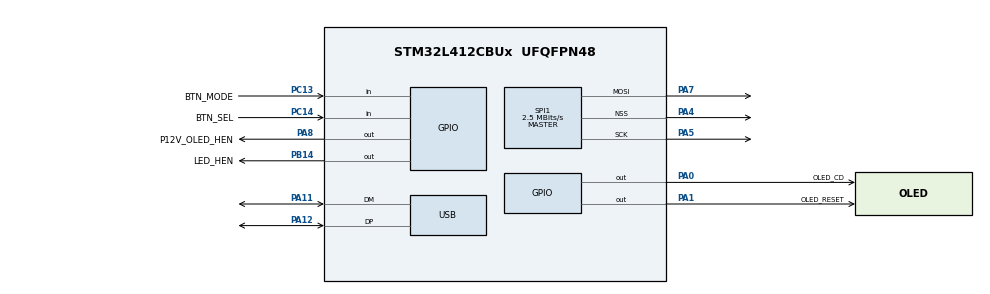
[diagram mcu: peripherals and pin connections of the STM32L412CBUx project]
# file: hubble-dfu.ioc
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CRC.DefaultInitValueUse=DEFAULT_INIT_VALUE_ENABLE
Mcu.Family=STM32L4
Mcu.Name=STM32L412CBUx
Mcu.Package=UFQFPN48
NVIC.PriorityGroup=NVIC_PRIORITYGROUP_4
NVIC.USB_IRQn=true\:0\:0\:false\:false\:true\:false\:true
PA0.GPIO_Label=OLED_CD
PA0.Signal=GPIO_Output
PA1.GPIO_Label=OLED_RESET
PA1.Signal=GPIO_Output
PA11.Mode=Device
PA11.Signal=USB_DM
PA12.Mode=Device
PA12.Signal=USB_DP
PA13\ (JTMS/SWDIO).Mode=Serial_Wire
PA13\ (JTMS/SWDIO).Signal=SYS_JTMS-SWDIO
PA14\ (JTCK/SWCLK).Mode=Serial_Wire
PA14\ (JTCK/SWCLK).Signal=SYS_JTCK-SWCLK
PA4.Mode=NSS_Signal_Hard_Output
PA4.Signal=SPI1_NSS
PA5.Mode=TX_Only_Simplex_Unidirect_Master
PA5.Signal=SPI1_SCK
PA7.Mode=TX_Only_Simplex_Unidirect_Master
PA7.Signal=SPI1_MOSI
PA8.GPIO_Label=P12V_OLED_HEN
PA8.Signal=GPIO_Output
PB14.GPIO_Label=LED_HEN
PB14.Signal=GPIO_Output
PC13.GPIO_Label=BTN_MODE
PC13.GPIO_PuPd=GPIO_PULLUP
PC13.Signal=GPIO_Input
PC14-OSC32_IN\ (PC14).GPIO_Label=BTN_SEL
PC14-OSC32_IN\ (PC14).GPIO_PuPd=GPIO_PULLUP
PC14-OSC32_IN\ (PC14).Signal=GPIO_Input
ProjectManager.HeapSize=0x200
ProjectManager.StackSize=0x400
ProjectManager.TargetToolchain=Makefile
RCC.ADCFreq_Value=80000000
RCC.AHBFreq_Value=80000000
RCC.APB1Freq_Value=80000000
RCC.APB1TimFreq_Value=80000000
RCC.APB2Freq_Value=80000000
RCC.APB2TimFreq_Value=80000000
RCC.CK48CLockSelection=RCC_USBCLKSOURCE_HSI48
RCC.CortexFreq_Value=80000000
RCC.HCLKFreq_Value=80000000
RCC.HSE_VALUE=8000000
RCC.HSI48_VALUE=48000000
RCC.HSI_VALUE=16000000
RCC.LSE_VALUE=32768
RCC.MSIClockRange=RCC_MSIRANGE_11
RCC.MSI_VALUE=48000000
RCC.PLLN=10
RCC.PLLSourceVirtual=RCC_PLLSOURCE_HSI
RCC.SYSCLKFreq_VALUE=80000000
RCC.SYSCLKSource=RCC_SYSCLKSOURCE_PLLCLK
RCC.USBFreq_Value=48000000
RCC.VCOOutputFreq_Value=160000000
SPI1.BaudRatePrescaler=SPI_BAUDRATEPRESCALER_32
SPI1.CalculateBaudRate=2.5 MBits/s
SPI1.DataSize=SPI_DATASIZE_8BIT
SPI1.Direction=SPI_DIRECTION_2LINES
SPI1.Mode=SPI_MODE_MASTER
SPI1.VirtualNSS=VM_NSSHARD
SPI1.VirtualType=VM_MASTER
USB_DEVICE.CLASS_NAME_FS=DFU
USB_DEVICE.USBD_DFU_APP_DEFAULT_ADD=0x08005000
USB_DEVICE.USBD_DFU_MEDIA=@Internal Flash   /0x08000000/10*002Ka,54*002Kg
USB_DEVICE.VirtualMode=Dfu
USB_DEVICE.VirtualModeFS=Dfu_FS
VP_CRC_VS_CRC.Mode=CRC_Activate
VP_RCC_USB.Mode=CRS SYNC Source USB
VP_USB_DEVICE_VS_USB_DEVICE_DFU_FS.Mode=DFU_FS
board=custom

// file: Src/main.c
/* USER CODE BEGIN Header */
/* USER CODE END Header */

#include "main.h"
#include "usb_device.h"

/* USER CODE BEGIN Includes */
#include "dpy_trg.h"
#include "common/dpy.h"
#include "usbd_core.h"
#include "usbd_dfu_if.h"
#include "version_info.h"
/* USER CODE END Includes */

CRC_HandleTypeDef hcrc;

SPI_HandleTypeDef hspi1;

/* USER CODE BEGIN PV */
static const version_info_t *version_info = (void*)(0x80051a0);
/* USER CODE END PV */

void SystemClock_Config(void);
static void MX_GPIO_Init(void);
static void MX_SPI1_Init(void);
static void MX_CRC_Init(void);

/* USER CODE BEGIN 0 */
typedef  void (*pFunction)(void);
pFunction JumpToApplication;
uint32_t JumpAddress;

uint8_t app_is_valid() {
	return ((*(__IO uint32_t*)USBD_DFU_APP_DEFAULT_ADD) & 0x2FFE0000 ) == 0x20000000 && version_info->sig == VERSION_INFO_SIG && version_info->len > 0;
}

extern USBD_HandleTypeDef hUsbDeviceFS;

static void enter_app() {
	if(app_is_valid())
    {
		USBD_Stop(&hUsbDeviceFS);
		USBD_DeInit(&hUsbDeviceFS);
		HAL_Delay(100);
	   SysTick->CTRL = 0;
	   HAL_NVIC_DisableIRQ(SysTick_IRQn);
	   HAL_NVIC_DisableIRQ(USB_IRQn);

      /* Jump to user application */
      JumpAddress = *(__IO uint32_t*) (USBD_DFU_APP_DEFAULT_ADD + 4);
      JumpToApplication = (pFunction) JumpAddress;

      /* Initialize user application's Stack Pointer */
      __set_MSP(*(__IO uint32_t*) USBD_DFU_APP_DEFAULT_ADD);
      JumpToApplication();
      while(1)
		   ;
    }

}

/* USER CODE END 0 */

int main(void)
{

  /* MCU Configuration--------------------------------------------------------*/

  /* Reset of all peripherals, Initializes the Flash interface and the Systick. */
  HAL_Init();

  /* Configure the system clock */
  SystemClock_Config();

  /* USER CODE BEGIN SysInit */
  HAL_InitTick(TICK_INT_PRIORITY);
  /* USER CODE END SysInit */

  /* Initialize all configured peripherals */
  MX_GPIO_Init();
  MX_USB_DEVICE_Init();
  MX_SPI1_Init();
  MX_CRC_Init();
  /* USER CODE BEGIN 2 */

  dpy_trg_init(&hspi1);
  HAL_GPIO_WritePin(LED_HEN_GPIO_Port, LED_HEN_Pin, 1);
  HAL_Delay(50);
  HAL_GPIO_WritePin(LED_HEN_GPIO_Port, LED_HEN_Pin, 0);

  uint16_t boot_timeout = 4000;
  uint8_t autoboot = 1;

  /* USER CODE END 2 */

  /* Infinite loop */
  /* USER CODE BEGIN WHILE */
  while (1)
  {
	  dpy_clear();
	  dpy_puts(0,0,"- Hubble Bootloader -");
	  if(app_is_valid()) {
		  dpy_puts(0,16, "App is valid");
		  dpy_puts(0,24, "press mode to boot");
		  dpy_puts(0, 56, version_info->desc);
		  if(HAL_GPIO_ReadPin(BTN_MODE_GPIO_Port, BTN_MODE_Pin) == 0) {
			  dpy_clear();
			  const uint32_t *crc_from_flash = (void*)(USBD_DFU_APP_DEFAULT_ADD+version_info->len);
			  dpy_puts(0,0,"Flash");
			  dpy_putix(36,0,8,*crc_from_flash);
			  dpy_trg_flush();
			  uint32_t crc_calc = HAL_CRC_Calculate(&hcrc, (void*)USBD_DFU_APP_DEFAULT_ADD, version_info->len);
			  dpy_puts(0,8,"Calc.");
			  dpy_putix(36,8,8,crc_calc);
			  if(crc_calc == *crc_from_flash) {
				  dpy_puts(0,24,"CRC okay");
				  dpy_trg_flush();
				  HAL_Delay(200);
			  }
			  dpy_trg_flush();
			  if(crc_calc != *crc_from_flash) {
				  dpy_puts(0,24,"CRC Mismatch");
				  dpy_trg_flush();
				  HAL_Delay(2000);
				  while(HAL_GPIO_ReadPin(BTN_MODE_GPIO_Port, BTN_MODE_Pin) == 0)
					  ;
			  }
			  else {
				  while(HAL_GPIO_ReadPin(BTN_MODE_GPIO_Port, BTN_MODE_Pin) == 0)
					  ;
				  enter_app();
			  }

		  }
		  /*if(autoboot) {
			  dpy_puts(0, 24, "Starting app in");
			  dpy_puti(16*6, 24, 2, (boot_timeout-HAL_GetTick())/1000);
			  if(HAL_GPIO_ReadPin(BTN_MODE_GPIO_Port, BTN_MODE_Pin) == 0) {
				  autoboot = 0;
			  }
			  if(HAL_GetTick()>=boot_timeout) {
				  enter_app();
			  }
		  }
		  else {
			  dpy_puts(0, 24, "Autoboot cancelled");
		  }
		  if(HAL_GPIO_ReadPin(BTN_SEL_GPIO_Port, BTN_SEL_Pin) == 0) {
			  enter_app();
		  }*/

	  }
	  else  {
		  //autoboot = 0;
		  dpy_puts(0,16, "App is invalid");
	  }
	  switch(dfu_status) {
	  case DFU_STATUS_IDLE:
		dpy_puts(0, 40, "Idle");
		break;

	  case DFU_STATUS_WRITE:
		dpy_puts(0, 40, "Write");
		break;

	  case DFU_STATUS_ERASE:
		dpy_puts(0, 40, "Erase");
		break;
	  }
	  dpy_puts(6*6, 40, "0x");
	  dpy_putix(8*6, 40, 8, dfu_current_address);

	  //dpy_puti(64, 8, 5, HAL_GetTick()/1000);
	  dpy_trg_flush();
    /* USER CODE END WHILE */

  }
}

void SystemClock_Config(void)
{
  LL_FLASH_SetLatency(LL_FLASH_LATENCY_4);

  if(LL_FLASH_GetLatency() != LL_FLASH_LATENCY_4)
  {
  Error_Handler();
  }
  LL_PWR_SetRegulVoltageScaling(LL_PWR_REGU_VOLTAGE_SCALE1);
  LL_RCC_HSI_Enable();

   /* Wait till HSI is ready */
  while(LL_RCC_HSI_IsReady() != 1)
  {

  }
  LL_RCC_HSI_SetCalibTrimming(64);
  LL_RCC_HSI48_Enable();

   /* Wait till HSI48 is ready */
  while(LL_RCC_HSI48_IsReady() != 1)
  {

  }
  LL_RCC_PLL_ConfigDomain_SYS(LL_RCC_PLLSOURCE_HSI, LL_RCC_PLLM_DIV_1, 10, LL_RCC_PLLR_DIV_2);
  LL_RCC_PLL_EnableDomain_SYS();
  LL_RCC_PLL_Enable();

   /* Wait till PLL is ready */
  while(LL_RCC_PLL_IsReady() != 1)
  {

  }
  LL_RCC_SetSysClkSource(LL_RCC_SYS_CLKSOURCE_PLL);

   /* Wait till System clock is ready */
  while(LL_RCC_GetSysClkSource() != LL_RCC_SYS_CLKSOURCE_STATUS_PLL)
  {

  }
  LL_RCC_SetAHBPrescaler(LL_RCC_SYSCLK_DIV_1);
  LL_RCC_SetAPB1Prescaler(LL_RCC_APB1_DIV_1);
  LL_RCC_SetAPB2Prescaler(LL_RCC_APB2_DIV_1);
  LL_SetSystemCoreClock(80000000);
  LL_RCC_SetUSBClockSource(LL_RCC_USB_CLKSOURCE_HSI48);
  LL_APB1_GRP1_EnableClock(LL_APB1_GRP1_PERIPH_CRS);
  LL_APB1_GRP1_ForceReset(LL_APB1_GRP1_PERIPH_CRS);
  LL_APB1_GRP1_ReleaseReset(LL_APB1_GRP1_PERIPH_CRS);
  LL_CRS_SetSyncDivider(LL_CRS_SYNC_DIV_1);
  LL_CRS_SetSyncPolarity(LL_CRS_SYNC_POLARITY_RISING);
  LL_CRS_SetSyncSignalSource(LL_CRS_SYNC_SOURCE_USB);
  LL_CRS_SetReloadCounter(__LL_CRS_CALC_CALCULATE_RELOADVALUE(48000000,1000));
  LL_CRS_SetFreqErrorLimit(34);
  LL_CRS_SetHSI48SmoothTrimming(32);
}

static void MX_CRC_Init(void)
{

  hcrc.Instance = CRC;
  hcrc.Init.DefaultPolynomialUse = DEFAULT_POLYNOMIAL_ENABLE;
  hcrc.Init.DefaultInitValueUse = DEFAULT_INIT_VALUE_ENABLE;
  hcrc.Init.InputDataInversionMode = CRC_INPUTDATA_INVERSION_NONE;
  hcrc.Init.OutputDataInversionMode = CRC_OUTPUTDATA_INVERSION_DISABLE;
  hcrc.InputDataFormat = CRC_INPUTDATA_FORMAT_BYTES;
  if (HAL_CRC_Init(&hcrc) != HAL_OK)
  {
    Error_Handler();
  }

}

static void MX_SPI1_Init(void)
{

  /* SPI1 parameter configuration*/
  hspi1.Instance = SPI1;
  hspi1.Init.Mode = SPI_MODE_MASTER;
  hspi1.Init.Direction = SPI_DIRECTION_2LINES;
  hspi1.Init.DataSize = SPI_DATASIZE_8BIT;
  hspi1.Init.CLKPolarity = SPI_POLARITY_LOW;
  hspi1.Init.CLKPhase = SPI_PHASE_1EDGE;
  hspi1.Init.NSS = SPI_NSS_HARD_OUTPUT;
  hspi1.Init.BaudRatePrescaler = SPI_BAUDRATEPRESCALER_32;
  hspi1.Init.FirstBit = SPI_FIRSTBIT_MSB;
  hspi1.Init.TIMode = SPI_TIMODE_DISABLE;
  hspi1.Init.CRCCalculation = SPI_CRCCALCULATION_DISABLE;
  hspi1.Init.CRCPolynomial = 7;
  hspi1.Init.CRCLength = SPI_CRC_LENGTH_DATASIZE;
  hspi1.Init.NSSPMode = SPI_NSS_PULSE_ENABLE;
  if (HAL_SPI_Init(&hspi1) != HAL_OK)
  {
    Error_Handler();
  }

}

static void MX_GPIO_Init(void)
{
  GPIO_InitTypeDef GPIO_InitStruct = {0};

  /* GPIO Ports Clock Enable */
  __HAL_RCC_GPIOC_CLK_ENABLE();
  __HAL_RCC_GPIOH_CLK_ENABLE();
  __HAL_RCC_GPIOA_CLK_ENABLE();
  __HAL_RCC_GPIOB_CLK_ENABLE();

  /*Configure GPIO pin Output Level */
  HAL_GPIO_WritePin(GPIOA, OLED_CD_Pin|OLED_RESET_Pin|P12V_OLED_HEN_Pin, GPIO_PIN_RESET);

  /*Configure GPIO pin Output Level */
  HAL_GPIO_WritePin(LED_HEN_GPIO_Port, LED_HEN_Pin, GPIO_PIN_RESET);

  /*Configure GPIO pins : BTN_MODE_Pin BTN_SEL_Pin */
  GPIO_InitStruct.Pin = BTN_MODE_Pin|BTN_SEL_Pin;
  GPIO_InitStruct.Mode = GPIO_MODE_INPUT;
  GPIO_InitStruct.Pull = GPIO_PULLUP;
  HAL_GPIO_Init(GPIOC, &GPIO_InitStruct);

  /*Configure GPIO pin : PC15 */
  GPIO_InitStruct.Pin = GPIO_PIN_15;
  GPIO_InitStruct.Mode = GPIO_MODE_ANALOG;
  GPIO_InitStruct.Pull = GPIO_NOPULL;
  HAL_GPIO_Init(GPIOC, &GPIO_InitStruct);

  /*Configure GPIO pins : PH0 PH1 PH3 */
  GPIO_InitStruct.Pin = GPIO_PIN_0|GPIO_PIN_1|GPIO_PIN_3;
  GPIO_InitStruct.Mode = GPIO_MODE_ANALOG;
  GPIO_InitStruct.Pull = GPIO_NOPULL;
  HAL_GPIO_Init(GPIOH, &GPIO_InitStruct);

  /*Configure GPIO pins : OLED_CD_Pin OLED_RESET_Pin P12V_OLED_HEN_Pin */
  GPIO_InitStruct.Pin = OLED_CD_Pin|OLED_RESET_Pin|P12V_OLED_HEN_Pin;
  GPIO_InitStruct.Mode = GPIO_MODE_OUTPUT_PP;
  GPIO_InitStruct.Pull = GPIO_NOPULL;
  GPIO_InitStruct.Speed = GPIO_SPEED_FREQ_LOW;
  HAL_GPIO_Init(GPIOA, &GPIO_InitStruct);

  /*Configure GPIO pins : PA2 PA3 PA6 PA9
                           PA10 PA15 */
  GPIO_InitStruct.Pin = GPIO_PIN_2|GPIO_PIN_3|GPIO_PIN_6|GPIO_PIN_9
                          |GPIO_PIN_10|GPIO_PIN_15;
  GPIO_InitStruct.Mode = GPIO_MODE_ANALOG;
  GPIO_InitStruct.Pull = GPIO_NOPULL;
  HAL_GPIO_Init(GPIOA, &GPIO_InitStruct);

  /*Configure GPIO pins : PB0 PB1 PB2 PB10
                           PB11 PB12 PB13 PB15
                           PB3 PB4 PB5 PB6
                           PB7 PB8 PB9 */
  GPIO_InitStruct.Pin = GPIO_PIN_0|GPIO_PIN_1|GPIO_PIN_2|GPIO_PIN_10
                          |GPIO_PIN_11|GPIO_PIN_12|GPIO_PIN_13|GPIO_PIN_15
                          |GPIO_PIN_3|GPIO_PIN_4|GPIO_PIN_5|GPIO_PIN_6
                          |GPIO_PIN_7|GPIO_PIN_8|GPIO_PIN_9;
  GPIO_InitStruct.Mode = GPIO_MODE_ANALOG;
  GPIO_InitStruct.Pull = GPIO_NOPULL;
  HAL_GPIO_Init(GPIOB, &GPIO_InitStruct);

  /*Configure GPIO pin : LED_HEN_Pin */
  GPIO_InitStruct.Pin = LED_HEN_Pin;
  GPIO_InitStruct.Mode = GPIO_MODE_OUTPUT_PP;
  GPIO_InitStruct.Pull = GPIO_NOPULL;
  GPIO_InitStruct.Speed = GPIO_SPEED_FREQ_LOW;
  HAL_GPIO_Init(LED_HEN_GPIO_Port, &GPIO_InitStruct);

}

void Error_Handler(void)
{
}

/************************ (C) COPYRIGHT STMicroelectronics *****END OF FILE****/
